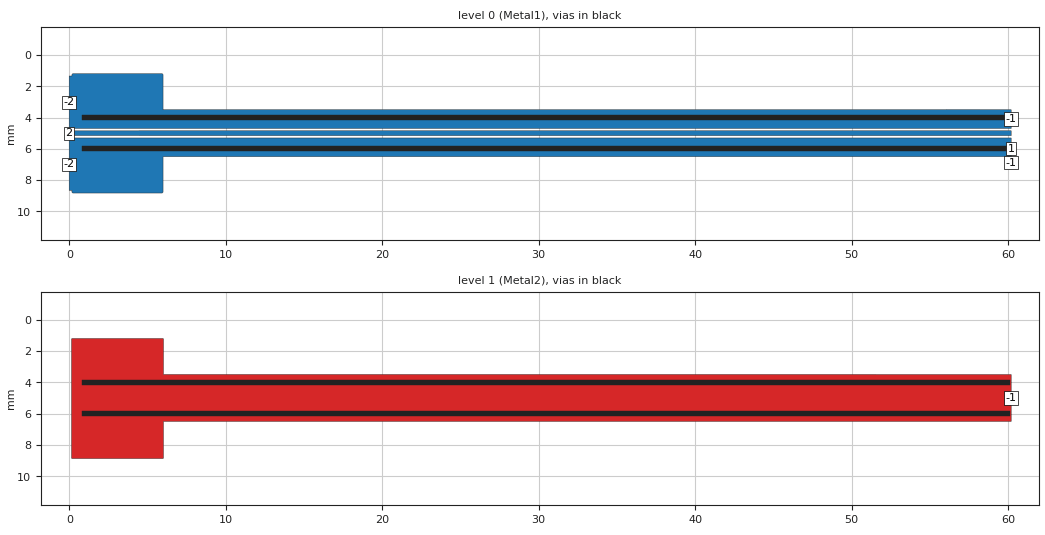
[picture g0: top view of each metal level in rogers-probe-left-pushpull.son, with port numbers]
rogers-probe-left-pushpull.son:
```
FTYP SONPROJ 18 ! Sonnet Project File
VER 17.56
HEADER
LIC antikernel2.1.50170 3cfdfeabd719 havequick azonenberg Level3Gold
DAT 03/02/2021 01:11:32
BUILT_BY_CREATED dxf 17.52.2 05/01/2020 05:35:06
BUILT_BY_SAVED sonnet 17.56
MDATE 03/02/2021 01:11:32
HDATE 03/02/2021 01:11:32
ANN Created by dxfgeo, Sonnet Software Inc.
END HEADER
DIM
ANG DEG
CAP PF
CON /OH
FREQ GHZ
IND NH
LNG MM
RES OH
END DIM
CONTROL
VARSWP
OPTIONS  -dj
SPEED 1
CACHE_ABS 1
Q_ACC N
END CONTROL
GEO
TMET "Free Space" 0 FREESPACE 376.7303136 0 0 0
BMET "Free Space" 0 FREESPACE 376.7303136 0 0 0
MET "Copper 1oz thick" 2 TMM 58000000 0.5 0.035 2
MET "Nickel " 3 TMM 14300000 0.5 3.5e-05 2
MET "Copper 0.5oz" 1 NOR 58000000 0.5 0.0175 
MET "Unknown_metal" 1 NOR INF 0.5 0 
MET "Unknown_metal" 1 VOL INF 0
BRI "Alumina (96%)" 0 9.4 0.0004 0 
BRI "Alumina (99.5%)" 0 9.9 0.0001 0 
BRI "Aluminum Nitride" 0 8.6 0.0003 0 
BRI "Arlon 25FR" 0 3.58 0.0035 0 
BRI "Arlon 25N" 0 3.38 0.0025 0 
BRI "Arlon AD5" 0 5.1 0.003 0 
BRI "Arlon AD10" 0 10.2 0.005 0 
BRI "Arlon AD250" 0 2.5 0.0018 0 
BRI "Arlon AD255A" 0 2.55 0.0015 0 
BRI "Arlon AD260A" 0 2.6 0.0018 0 
BRI "Arlon AD270" 0 2.7 0.0023 0 
BRI "Arlon AD300A" 0 3 0.002 0 
BRI "Arlon AD320A" 0 3.2 0.0032 0 
BRI "Arlon AD350A" 0 3.5 0.003 0 
BRI "Arlon AD410" 0 4.1 0.003 0 
BRI "Arlon AD430" 0 4.3 0.003 0 
BRI "Arlon AD450" 0 4.5 0.0035 0 
BRI "Arlon AD600" 0 6.15 0.003 0 
BRI "Arlon AD1000" 0 10.2 0.0023 0 
BRI "Arlon AR1000" 0 9.8 0.003 0 
BRI "Arlon CLTE" 0 2.96 0.0023 0 
BRI "Arlon CLTE-AT" 0 3 0.0013 0 
BRI "Arlon CLTE-P" 0 2.94 0.0025 0 
BRI "Arlon CLTE-XT" 0 2.94 0.0012 0 
BRI "Arlon Cu 217LX" 0 2.17 0.0009 0 
BRI "Arlon Cu 233LX" 0 2.33 0.0013 0 
BRI "Arlon Cu 250GT" 0 2.5 0.001 0 
BRI "Arlon Cu 250GX" 0 2.5 0.0018 0 
BRI "Arlon Cu 6250" 0 2.32 0.0013 0 
BRI "Arlon Cu 6700" 0 2.35 0.0025 0 
BRI "Arlon Di 522" 0 2.5 0.001 0 
BRI "Arlon Di 527" 0 2.5 0.0018 0 
BRI "Arlon Di 870" 0 2.33 0.0013 0 
BRI "Arlon Di 880" 0 2.17 0.0009 0 
BRI "Arlon Iso 917" 0 2.17 0.0013 0 
BRI "Arlon Iso 933" 0 2.33 0.0016 0 
BRI "Arlon Multi HF" 0 3.7 0.004 0 
BRI "Arlon TC350" 0 3.5 0.002 0 
BRI "Arlon TC600" 0 6.15 0.002 0 
BRI "Beryllia (99.5%)" 0 6.5 0.0004 0 
BRI "CEM-1" 0 4.5 0.02 0 
BRI "CEM-3" 0 4.5 0.02 0 
BRI "Dupont 9K7" 0 7.1 0.0012 0 
BRI "Dupont 943" 0 7.4 0.002 0 
BRI "Dupont 951" 0 7.8 0.006 0 
BRI "Dupont FEP" 0 2 0.0005 0 
BRI "Dupont Vacrel" 0 3.8 0.011 0 
BRI "ESL 41010" 0 7.5 0.005 0 
BRI "ESL 41020" 0 7.25 0.005 0 
BRI "ESL 41050" 0 13.5 0.002 0 
BRI "ESL 41060" 0 16.5 0.002 0 
BRI "ESL 41110" 0 4.5 0.004 0 
BRI "Ferro A6M" 0 5.9 0.002 0 
BRI "Ferro A6S" 0 5.9 0.002 0 
BRI "Ferro L8" 0 7.3 0.0018 0 
BRI "FR-4" 0 4.4 0.02 0 
BRI "G-10" 0 4.8 0.025 0 
BRI "Gallium Arsenide" 0 12.9 0.006 0 
BRI "Gallium Nitride" 0 9.7 0 0 
BRI "Glass (Pyrex)" 0 4.82 0.0054 0 
BRI "Heraeus HL2000" 0 7.3 0.0026 0 
BRI "Isola 370HR" 0 4.04 0.021 0 
BRI "Isola FR408" 0 3.77 0.0116 0 
BRI "Isola FR408HR" 0 3.68 0.0092 0 
BRI "Isola Getek" 0 3.6 0.01 0 
BRI "Isola GI-180" 0 3.7 0.013 0 
BRI "Isola IS415" 0 3.82 0.0125 0 
BRI "Isola IS620i" 0 3.58 0.006 0 
BRI "Isola IS680-280" 0 2.8 0.0025 0 
BRI "Isola IS680-300" 0 3 0.003 0 
BRI "Isola IS680-320" 0 3.2 0.003 0 
BRI "Isola IS680-333" 0 3.33 0.003 0 
BRI "Isola IS680-338" 0 3.38 0.0032 0 
BRI "Isola IS680-345" 0 3.45 0.0036 0 
BRI "Kerafol CT800" 0 5.3 0.008 0 
BRI "Nelco MW9350" 0 3.7 0.004 0 
BRI "Nelco N4000-12" 0 3.7 0.008 0 
BRI "Nelco N4000-13" 0 3.7 0.009 0 
BRI "Nelco N4000-13SI" 0 3.2 0.007 0 
BRI "Nelco N4000-13EP" 0 3.7 0.008 0 
BRI "Nelco N4350-13RF" 0 3.5 0.0065 0 
BRI "Nelco N4380-13RF" 0 3.8 0.007 0 
BRI "Nelco N9300-13RF" 0 3 0.004 0 
BRI "Nelco N9320-13RF" 0 3.2 0.0045 0 
BRI "Nelco N9338-13RF" 0 3.38 0.0046 0 
BRI "Nelco N9350-13RF" 0 3.48 0.0055 0 
BRI "Nelco NH9294" 0 2.94 0.0022 0 
BRI "Nelco NH9300" 0 3 0.0023 0 
BRI "Nelco NH9320" 0 3.2 0.0024 0 
BRI "Nelco NH9338" 0 3.38 0.0025 0 
BRI "Nelco NH9348" 0 3.48 0.003 0 
BRI "Nelco NH9350" 0 3.5 0.003 0 
BRI "Nelco NH9410" 0 4.1 0.003 0 
BRI "Nelco NH9450" 0 4.5 0.003 0 
BRI "Nelco NX9240" 0 2.4 0.0016 0 
BRI "Nelco NX9245" 0 2.45 0.0016 0 
BRI "Nelco NX9250" 0 2.5 0.0017 0 
BRI "Nelco NX9255" 0 2.55 0.0018 0 
BRI "Nelco NX9260" 0 2.6 0.0019 0 
BRI "Nelco NY9208" 0 2.08 0.0006 0 
BRI "Nelco NY9217" 0 2.17 0.0008 0 
BRI "Nelco NY9220" 0 2.2 0.0009 0 
BRI "Nelco NY9233" 0 2.33 0.0011 0 
BRI "PET" 0 3.37 0.0208 0 
BRI "Polyimide" 0 3.5 0.003 0 
BRI "Quartz (Fused)" 0 3.78 0.0001 0 
BRI "Rogers 3001" 0 2.28 0.003 0 
BRI "Rogers RO2808" 0 7.6 0.0015 0 
BRI "Rogers RO3003" 0 3 0.0013 0 
BRI "Rogers RO3006" 0 6.5 0.002 0 
BRI "Rogers RO3010" 0 11.2 0.0022 0 
BRI "Rogers RO3035" 0 3.6 0.0018 0 
BRI "Rogers RO3203" 0 3.02 0.0016 0 
BRI "Rogers RO3206" 0 6.6 0.0027 0 
BRI "Rogers RO3210" 0 10.8 0.0027 0 
BRI "Rogers RO3730" 0 3 0.0016 0 
BRI "Rogers RO4003C" 0 3.55 0.0029 0 
BRI "Rogers RO4533" 0 3.45 0.0029 0 
BRI "Rogers RO4534" 0 3.4 0.003 0 
BRI "Rogers RO4350B" 0 3.66 0.0037 0 
BRI "Rogers RO4350BTX" 0 3.66 0.0034 0 
BRI "Rogers RO4360" 0 6.15 0.0038 0 
BRI "Rogers RO4450B-3.6" 0 3.3 0.0043 0 
BRI "Rogers RO4450B-4" 0 3.54 0.004 0 
BRI "Rogers RO4450F" 0 3.52 0.0041 0 
BRI "Rogers RO4730" 0 3 0.0033 0 
BRI "Rogers RT5870" 0 2.33 0.0012 0 
BRI "Rogers RT5880" 0 2.2 0.0009 0 
BRI "Rogers RT5880LZ" 0 1.96 0.0019 0 
BRI "Rogers RT6002" 0 2.94 0.0012 0 
BRI "Rogers RT6006" 0 6.15 0.0027 0 
BRI "Rogers RT6010LM" 0 10.9 0.0023 0 
BRI "Rogers RT6035HTC" 0 3.6 0.0013 0 
BRI "Rogers RT6202" 0 2.94 0.0015 0 
BRI "Rogers RT6202PR" 0 2.95 0.0015 0 
BRI "Rogers Syron7000" 0 3.4 0.0045 0 
BRI "Rogers Syron7100-2" 0 3.61 0.006 0 
BRI "Rogers Syron7100-4" 0 3.39 0.005 0 
BRI "Rogers Theta" 0 4.01 0.0118 0 
BRI "Rogers TMM 3" 0 3.39 0.002 0 
BRI "Rogers TMM 4" 0 4.5 0.002 0 
BRI "Rogers TMM 6" 0 6 0.0023 0 
BRI "Rogers TMM 10" 0 9.56 0.0022 0 
BRI "Rogers TMM 10i" 0 9.96 0.002 0 
BRI "Rogers UL2000" 0 2.5 0.0019 0 
BRI "Rogers UL3850" 0 3.05 0.0025 0 
BRI "Rogers UL3908" 0 2.9 0.0025 0 
BRI "Rogers XT8000" 0 3.34 0.0035 0 
BRI "Rogers XT8100-2" 0 3.54 0.0049 0 
BRI "Rogers XT8100-4" 0 3.32 0.0038 0 
BRI "Silicon (intrinsic)" 0 11.9 0.004 0.00044 
BRI "Silicon Dioxide" 0 3.9 0 0 
BRI "Silicon Nitride" 0 7.5 0 0 
BRI "Taconic CER-10" 0 10 0.0035 0 
BRI "Taconic FastFilm" 0 2.7 0.0012 0 
BRI "Taconic Fastrise-DS" 0 2.96 0.0018 0 
BRI "Taconic Fastrise27" 0 2.7 0.0014 0 
BRI "Taconic Fastrise77" 0 7.7 0.0034 0 
BRI "Taconic FEP" 0 2 0.0003 0 
BRI "Taconic RF-30" 0 3 0.0014 0 
BRI "Taconic RF-35" 0 3.5 0.0018 0 
BRI "Taconic RF-35A2" 0 3.5 0.0011 0 
BRI "Taconic RF-35P" 0 3.5 0.0025 0 
BRI "Taconic RF-41" 0 4.1 0.0038 0 
BRI "Taconic RF-43" 0 4.3 0.0033 0 
BRI "Taconic RF-45" 0 4.5 0.0037 0 
BRI "Taconic RF-60A" 0 6.15 0.0038 0 
BRI "Taconic RF-301" 0 2.97 0.0012 0 
BRI "Taconic TacBond HT" 0 2.35 0.0025 0 
BRI "Taconic TLA-6" 0 2.62 0.0012 0 
BRI "Taconic TLC-27" 0 2.75 0.003 0 
BRI "Taconic TLC-30" 0 3 0.003 0 
BRI "Taconic TLC-32" 0 3.2 0.003 0 
BRI "Taconic TLE-95" 0 2.95 0.0028 0 
BRI "Taconic TLF-34" 0 3.4 0.002 0 
BRI "Taconic TLF-35" 0 3.5 0.002 0 
BRI "Taconic TLP-3" 0 2.33 0.0009 0 
BRI "Taconic TLP-5" 0 2.2 0.0009 0 
BRI "Taconic TLP-5A" 0 2.17 0.0009 0 
BRI "Taconic TLT-0" 0 2.45 0.0006 0 
BRI "Taconic TLT-9" 0 2.5 0.0006 0 
BRI "Taconic TLT-8" 0 2.55 0.0006 0 
BRI "Taconic TLT-7" 0 2.6 0.0006 0 
BRI "Taconic TLT-6" 0 2.65 0.0006 0 
BRI "Taconic TLX-0" 0 2.45 0.0019 0 
BRI "Taconic TLX-9" 0 2.5 0.0019 0 
BRI "Taconic TLX-8" 0 2.55 0.0019 0 
BRI "Taconic TLX-7" 0 2.6 0.0019 0 
BRI "Taconic TLX-6" 0 2.65 0.0019 0 
BRI "Taconic TLY-3" 0 2.33 0.0009 0 
BRI "Taconic TLY-3F" 0 2.33 0.0009 0 
BRI "Taconic TLY-5" 0 2.2 0.0009 0 
BRI "Taconic TLY-5-L" 0 2.2 0.0009 0 
BRI "Taconic TLY-5A" 0 2.17 0.0009 0 
BRI "Taconic TLY-5A-L" 0 2.17 0.0009 0 
BRI "Taconic TPG-30" 0 3 0.0038 0 
BRI "Taconic TPG-32" 0 3.2 0.005 0 
BRI "Taconic TPG-35" 0 3.5 0.005 0 
BRI "Taconic TRF-41" 0 4.1 0.0035 0 
BRI "Taconic TRF-43" 0 4.3 0.0035 0 
BRI "Taconic TRF-45" 0 4.5 0.0035 0 
BRI "Taconic TSM-DS" 0 2.85 0.001 0 
BRI "Taconic TSM-DS3" 0 3 0.0011 0 
BRI "Taconic TSM-26" 0 2.6 0.0014 0 
BRI "Taconic TSM-29" 0 2.94 0.0013 0 
BRI "Taconic TSM-30" 0 3 0.0013 0 
BRI "Teflon (PTFE)" 0 2.08 0.0004 0 
BOX 2 60.2 10 2408 800 20 0
      1 1 1 0 0 0 0 "Air"
      0.166 3.66 1 0.0037 0 0 0 "Rogers RO4350B"
      1 1 1 0 0 0 0 "Air"
TECHLAY METAL Metal1 BLACK -2 0 
0 0 0 N 2189 1 1 100 100 0 0 0 Y
END
END
TECHLAY VIA Via1 <UNSPECIFIED> -4 0 
VIA POLYGON
1 0 -1 N 2198 1 1 100 100 0 0 0 Y
TOLEVEL 0 RING NOCOVERS
END
END
TECHLAY METAL Metal2 BLACK -3 0 
1 0 2 N 2200 1 1 100 100 0 0 0 Y
END
END
LORGN 0 10 U 
POR1 BOX
POLY 1963 1
39
-2 50 0 0 0 -0.013425 3.015 
POR1 BOX
POLY 1963 1
41
-1 50 0 0 0 60.2 4.0925 
POR1 BOX
POLY 1964 1
5
2 50 0 0 0 -0.013425 4.995 
POR1 BOX
POLY 1964 1
11
1 50 0 0 0 60.2 4.995 
POR1 BOX
POLY 1965 1
19
-2 50 0 0 0 -0.013425 6.975 
POR1 BOX
POLY 1965 1
17
-1 50 0 0 0 60.2 5.8975 
POR1 BOX
POLY 1966 1
13
-1 50 0 0 0 60.2 4.992 
NUM 6
0 43 0 N 1963 1 1 100 100 0 0 0 Y
TLAYNAM Metal1 INH
USER_DAT FromImport
60.2 3.495
58.15 3.495
58.15 3.49
56.05 3.49
56.05 3.495
5.987575 3.495
5.98734423 3.494923077
5.98689758 3.494677419
5.986575 3.494090909
5.986575 1.266
5.984575 1.252
5.982575 1.245
5.979575 1.238
5.975575 1.231
5.971575 1.225
5.967575 1.22
5.961575 1.214
5.956575 1.21
5.950575 1.206
5.943575 1.202
5.936575 1.199
5.929575 1.197
5.915575 1.195
0.232575 1.195
0.218575 1.197
0.211575 1.199
0.204575 1.202
0.197575 1.206
0.191575 1.21
0.186575 1.214
0.180575 1.22
0.176575 1.225
0.172575 1.231
0.168575 1.238
0.165575 1.245
0.163575 1.252
0.161575 1.266
0.161575 1.274
0.161575 1.34
-0.013425 1.34
-0.013425 4.69
60.2 4.69
60.2 3.495
END
0 13 0 N 1964 1 1 100 100 0 0 0 Y
TLAYNAM Metal1 INH
USER_DAT FromImport
60.2 4.84
4.453575 4.84
4.438575 4.841
4.423575 4.844
4.420775 4.845
-0.013425 4.845
-0.013425 5.145
4.420775 5.145
4.423575 5.146
4.438575 5.149
4.453575 5.15
60.2 5.15
60.2 4.84
END
0 39 0 N 1965 1 1 100 100 0 0 0 Y
TLAYNAM Metal1 INH
USER_DAT FromImport
5.929575 8.818
5.936575 8.816
5.943575 8.813
5.950575 8.809
5.956575 8.805
5.961575 8.801
5.967575 8.795
5.971575 8.79
5.975575 8.784
5.979575 8.777
5.982575 8.77
5.984575 8.763
5.986575 8.749
5.986575 6.496
5.98665192 6.49576923
5.98689758 6.49532258
5.98748409 6.495
60.2 6.495
60.2 5.3
-0.013425 5.3
-0.013425 8.65
0.161575 8.65
0.161575 8.741
0.161575 8.749
0.163575 8.763
0.165575 8.77
0.168575 8.777
0.172575 8.784
0.176575 8.79
0.180575 8.795
0.186575 8.801
0.191575 8.805
0.197575 8.809
0.204575 8.813
0.211575 8.816
0.218575 8.818
0.232575 8.82
5.915575 8.82
5.929575 8.818
END
VIA POLYGON
1 5 -1 N 1967 1 1 100 100 0 0 0 Y
TOLEVEL 0 RING NOCOVERS
TLAYNAM Via1 INH
USER_DAT FromImport
60.1 3.845
0.836575 3.845
0.836575 4.145
60.1 4.145
60.1 3.845
END
VIA POLYGON
1 5 -1 N 1968 1 1 100 100 0 0 0 Y
TOLEVEL 0 RING NOCOVERS
TLAYNAM Via1 INH
USER_DAT FromImport
60.1 5.845
0.836575 5.845
0.836575 6.145
60.1 6.145
60.1 5.845
END
1 59 2 N 1966 1 1 100 100 0 0 0 Y
TLAYNAM Metal2 INH
5.97449989 8.86400055
5.97949905 8.86199974
5.98350067 8.86000084
5.98849983 8.85800003
5.99649925 8.85199951
5.99949951 8.84899925
6.00550003 8.84099983
6.00750084 8.83600067
6.00949974 8.83199905
6.01150055 8.82699989
6.0125 8.82200073
6.0125 6.49099945
6.01349945 6.49
60.2 6.49
60.2 3.494
51.55 3.494
51.55 3.49
6.0125 3.49
6.0125 3.48300003
6.01550026 1.246999969
6.01550026 1.233000031
6.01349945 1.222999802
6.01150055 1.219000092
6.00850029 1.214000931
6.00649948 1.209999313
6.00349922 1.205999603
6.00249977 1.205999603
5.99949951 1.202999344
5.99150009 1.197000732
5.98750038 1.194999924
5.98249931 1.192999115
5.9784996 1.191000214
5.97350044 1.190000763
0.18050022 1.190000763
0.17550011 1.191000214
0.17049999 1.192999115
0.16650028 1.194999924
0.16150017 1.197000732
0.15349979 1.202999344
0.15049953 1.205999603
0.14449997 1.214000931
0.14250011 1.219000092
0.14050026 1.222999802
0.1385004 1.22800087
0.1375 1.233000031
0.1375 8.82200073
0.1385004 8.82699989
0.14050026 8.83199905
0.14250011 8.83600067
0.14449997 8.84099983
0.15049953 8.84899925
0.15349979 8.85199951
0.16150017 8.85800003
0.16650028 8.86000084
0.17049999 8.86199974
0.17550011 8.86400055
0.18050022 8.865
5.96950073 8.865
5.97449989 8.86400055
END
END GEO
OPT
MAX 100
END OPT
VARSWP
ENABLED Y
FREQ Y AY ABS_ENTRY 0.1 16.0 -1 300 
END
END VARSWP
3DOPTIONS
GLOBAL 5
ALL 3 1
END 3DOPTIONS
```
